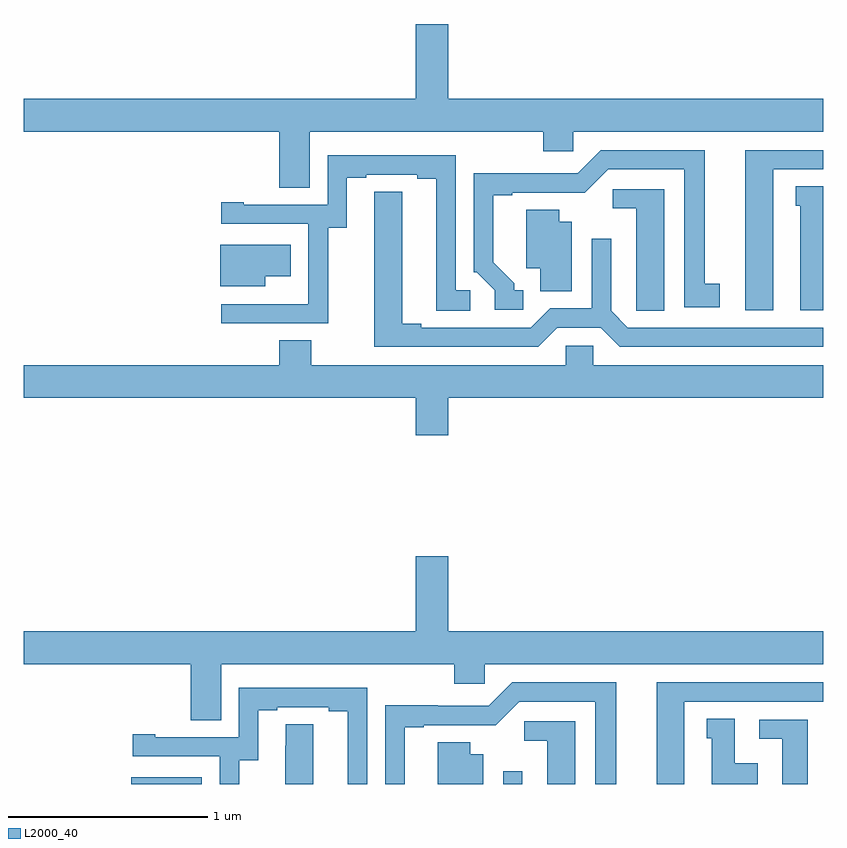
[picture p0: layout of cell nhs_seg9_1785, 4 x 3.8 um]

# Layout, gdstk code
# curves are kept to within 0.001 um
import gdstk
lib = gdstk.Library(unit=1e-6, precision=1e-09)
def R(c, l, rs):  # rectangles x0, y0, x1, y1
    for r in rs: c.add(gdstk.rectangle(r[:2], r[2:], *l))
def P(c, l, *ps):  # polygons
    for p in ps: c.add(gdstk.Polygon(p, *l))
L2000_40 = (2000, 40)

nhs_seg9_1785 = lib.new_cell('nhs_seg9_1785')
R(nhs_seg9_1785, L2000_40, [(211.538,1182.5,211.891,1182.535), (213.399,1182.5,213.495,1182.565)])
P(nhs_seg9_1785, L2000_40, [(212.431,1185.764),(213.599,1185.764),(213.599,1185.666),(213.75,1185.666),(213.75,1185.764),(215,1185.764),(215,1185.928),(213.124,1185.928),(213.124,1186.303),(212.96,1186.303),(212.96,1185.928),(211,1185.928),(211,1185.764),(212.279,1185.764),(212.279,1185.484),(212.431,1185.484)],
  [(213.499,1184.97),(213.454,1184.97),(213.454,1185.005),(213.349,1185.11),(213.349,1185.447),(213.445,1185.447),(213.445,1185.459),(213.806,1185.458),(213.924,1185.576),(214.304,1185.576),(214.304,1184.886),(214.483,1184.886),(214.483,1185.002),(214.408,1185.002),(214.408,1185.672),(213.888,1185.672),(213.771,1185.555),(213.515,1185.555),(213.515,1185.557),(213.252,1185.557),(213.252,1185.06),(213.267,1185.06),(213.357,1184.97),(213.357,1184.874),(213.499,1184.874)],
  [(214.75,1185.576),(215,1185.576),(215,1185.672),(214.61,1185.672),(214.61,1184.871),(214.75,1184.871)],
  [(212.523,1185.283),(212.617,1185.283),(212.617,1185.534),(212.713,1185.534),(212.713,1185.549),(212.969,1185.549),(212.969,1185.529),(213.065,1185.529),(213.065,1184.869),(213.235,1184.869),(213.235,1184.97),(213.162,1184.97),(213.162,1185.645),(212.52,1185.645),(212.52,1185.399),(212.101,1185.399),(212.101,1185.412),(211.989,1185.412),(211.989,1185.303),(212.424,1185.303),(212.424,1184.902),(212.423,1184.902),(212.423,1184.901),(211.989,1184.901),(211.989,1184.805),(212.523,1184.805)],
  [(215,1185.491),(214.862,1185.491),(214.862,1185.393),(214.886,1185.393),(214.886,1184.871),(215,1184.871)],
  [(214.204,1185.477),(213.948,1185.477),(213.948,1185.38),(214.064,1185.38),(214.064,1184.977),(214.065,1184.977),(214.065,1184.869),(214.204,1184.869)],
  [(213.669,1184.784),(213.887,1184.784),(213.983,1184.688),(215,1184.688),(215,1184.784),(214.023,1184.784),(213.939,1184.868),(213.939,1185.229),(213.843,1185.229),(213.843,1184.88),(213.633,1184.88),(213.537,1184.784),(212.989,1184.784),(212.989,1184.804),(212.893,1184.804),(212.893,1185.464),(212.754,1185.464),(212.753,1184.688),(213.573,1184.688)],
  [(213.742,1185.313),(213.679,1185.313),(213.679,1185.374),(213.515,1185.374),(213.515,1185.08),(213.584,1185.08),(213.584,1184.965),(213.742,1184.965)],
  [(212.209,1185.041),(212.335,1185.041),(212.335,1185.199),(211.982,1185.199),(211.982,1184.99),(212.209,1184.99)],
  [(213.124,1184.432),(215,1184.432),(215,1184.596),(213.849,1184.596),(213.849,1184.694),(213.711,1184.694),(213.711,1184.596),(212.439,1184.596),(212.439,1184.72),(212.279,1184.72),(212.279,1184.596),(211,1184.596),(211,1184.432),(212.96,1184.432),(212.96,1184.244),(213.124,1184.244)],
  [(211.987,1183.1),(213.155,1183.1),(213.155,1183.002),(213.306,1183.002),(213.306,1183.1),(215,1183.1),(215,1183.264),(213.124,1183.264),(213.124,1183.639),(212.96,1183.639),(212.96,1183.264),(211,1183.264),(211,1183.1),(211.835,1183.1),(211.835,1182.82),(211.987,1182.82)],
  [(212.905,1182.783),(213.001,1182.783),(213.001,1182.795),(213.362,1182.794),(213.48,1182.912),(213.86,1182.912),(213.86,1182.5),(213.964,1182.5),(213.964,1183.008),(213.444,1183.008),(213.327,1182.891),(213.071,1182.891),(213.071,1182.893),(212.808,1182.893),(212.808,1182.5),(212.905,1182.5)],
  [(214.306,1182.912),(215,1182.912),(215,1183.008),(214.166,1183.008),(214.166,1182.5),(214.306,1182.5)],
  [(212.079,1182.619),(212.173,1182.619),(212.173,1182.87),(212.269,1182.87),(212.269,1182.885),(212.525,1182.885),(212.525,1182.865),(212.621,1182.865),(212.621,1182.5),(212.718,1182.5),(212.718,1182.981),(212.076,1182.981),(212.076,1182.735),(211.657,1182.735),(211.657,1182.748),(211.545,1182.748),(211.545,1182.639),(211.98,1182.639),(211.98,1182.5),(212.079,1182.5)],
  [(214.672,1182.604),(214.558,1182.604),(214.558,1182.827),(214.418,1182.827),(214.418,1182.729),(214.442,1182.729),(214.442,1182.5),(214.672,1182.5)],
  [(214.924,1182.822),(214.68,1182.822),(214.68,1182.726),(214.796,1182.726),(214.796,1182.5),(214.924,1182.5)],
  [(213.76,1182.813),(213.504,1182.813),(213.504,1182.716),(213.62,1182.716),(213.62,1182.5),(213.76,1182.5)],
  [(212.449,1182.8),(212.31,1182.8),(212.31,1182.692),(212.309,1182.692),(212.309,1182.5),(212.449,1182.5)],
  [(213.298,1182.649),(213.235,1182.649),(213.235,1182.71),(213.071,1182.71),(213.071,1182.5),(213.298,1182.5)])

lib.write_gds('nhs_seg9_1785.gds')
